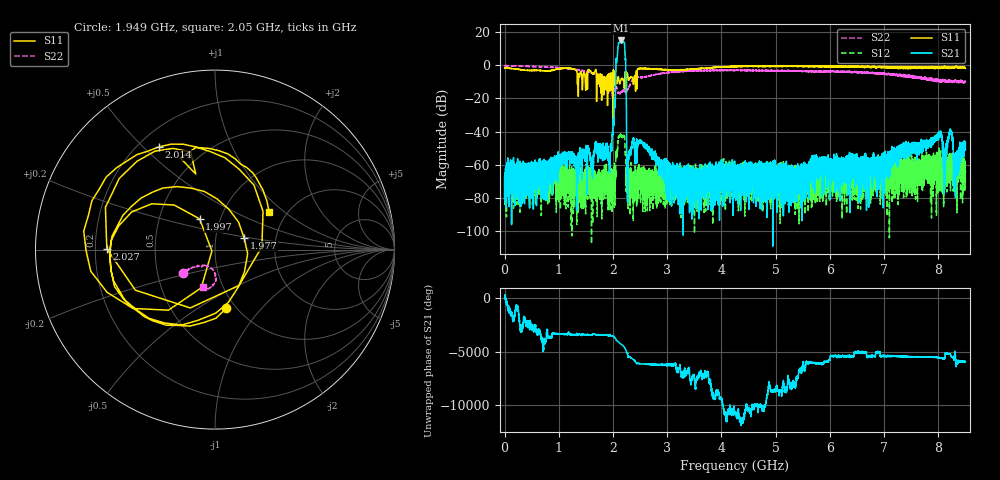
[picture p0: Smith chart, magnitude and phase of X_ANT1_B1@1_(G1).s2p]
#  HZ  S  RI  R  50.00
! Rohde & Schwarz Vector Network Analyzer
! Rohde-Schwarz,ZNBT8-20Port,1318700624101681,3.50
! Created: UTC 7/15/2025, 2:07:16 PM
! freq[Hz]  re:S1010  im:S1010  re:S0610  im:S0610  re:S1006  im:S1006  re:S66  im:S66
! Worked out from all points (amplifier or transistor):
!   8500 points, 1 MHz to 8.5 GHz, reference 50 ohm
!   highest |S21| = 15.0 dB at 2.144 GHz (marker M1)
!   |S21| within 3 dB of that: 2.095 GHz to 2.215 GHz (119.8 MHz wide, 5.56 % of centre)
!   unconditionally stable (mu >= 1): start of sweep to end of sweep
!   at 1.417 GHz: K = 379220.85, MAG = -55.8 dB, |S12| = -66.4 dB
!   at 4.251 GHz: K = 158593.57, MAG = -61.2 dB, |S12| = -60.2 dB
!   at 8.5 GHz: K = 56252.98, MAG = -41.5 dB, |S12| = -64.6 dB
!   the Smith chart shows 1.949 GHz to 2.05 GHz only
!   S11 on the Smith chart (normalised r, x): 1.949 GHz: 0.90, -0.66; 1.977 GHz: 1.37, +0.18; 1.997 GHz: 0.80, +0.28; 2.014 GHz: 0.28, +0.56; 2.027 GHz: 0.25, +0.00; 2.05 GHz: 1.64, +0.78
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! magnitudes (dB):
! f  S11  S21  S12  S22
! 1 MHz  -1.6  -67.1  -70.6  -0.2
! 1.418 GHz  -5.1  -55.5  -67.4  -3.1
! 1.949 GHz  -9.6  -53.1  -64.6  -13.1
! 1.977 GHz  -15.1  -50.3  -67.7  -16.6
! 1.997 GHz  -14.4  -40.3  -64.7  -19.4
! 2.014 GHz  -3.7  -35.7  -66.4  -17.6
! 2.027 GHz  -4.4  -19.7  -66.6  -14.7
! 2.05 GHz  -8.7  -8.9  -63.4  -13.3
! 2.144 GHz  -8.9  15.0  -41.5  -16.0
! 2.205 GHz  -10.9  13.8  -42.6  -14.7
! 2.293 GHz  -8.5  -53.2  -72.3  -13.1
! 2.509 GHz  -2.0  -45.9  -69.0  -7.3
! 2.834 GHz  -2.4  -57.4  -63.9  -5.3
! 3.296 GHz  -2.6  -70.8  -69.4  -3.7
! 4.251 GHz  -0.7  -72.5  -60.2  -3.2
! 5.667 GHz  -0.4  -60.6  -66.6  -3.6
! 7.084 GHz  -1.1  -58.2  -63.0  -5.2
! 8.021 GHz  -1.3  -40.8  -67.9  -8.8
! 8.128 GHz  -1.2  -54.1  -60.9  -9.6
! 8.224 GHz  -1.6  -40.2  -55.3  -9.5
! 8.324 GHz  -0.7  -55.7  -59.7  -9.3
! 8.5 GHz  -1.8  -46.6  -64.6  -10.1
